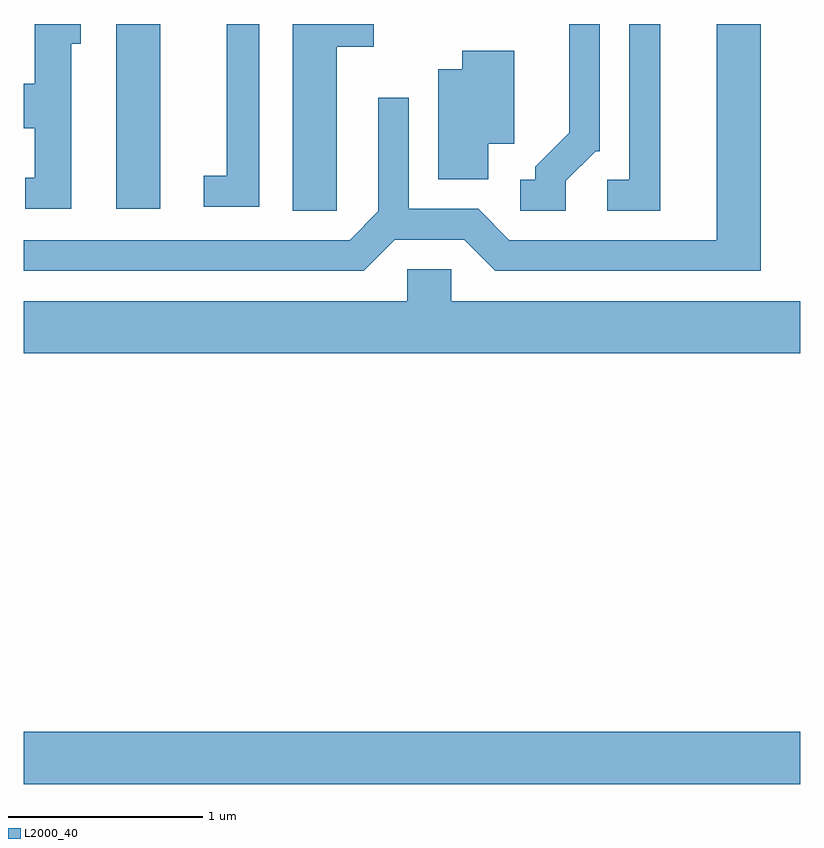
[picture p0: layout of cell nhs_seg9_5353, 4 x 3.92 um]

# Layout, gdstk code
import gdstk
lib = gdstk.Library(unit=1e-6, precision=1e-09)
def R(c, l, rs):  # rectangles x0, y0, x1, y1
    for r in rs: c.add(gdstk.rectangle(r[:2], r[2:], *l))
def P(c, l, *ps):  # polygons
    for p in ps: c.add(gdstk.Polygon(p, *l))
L2000_40 = (2000, 40)

nhs_seg9_5353 = lib.new_cell('nhs_seg9_5353')
R(nhs_seg9_5353, L2000_40, [(343.611,1958.516,347.611,1958.784), (344.086,1961.481,344.314,1962.432)])
P(nhs_seg9_5353, L2000_40, [(344.824,1962.432),(344.656,1962.432),(344.656,1961.649),(344.538,1961.649),(344.538,1961.491),(344.824,1961.491)],
  [(346.404,1961.624),(346.557,1961.776),(346.579,1961.776),(346.579,1962.432),(346.421,1962.432),(346.421,1961.872),(346.246,1961.697),(346.246,1961.629),(346.168,1961.629),(346.168,1961.471),(346.404,1961.471)],
  [(345.522,1961.321),(345.879,1961.321),(346.039,1961.161),(347.409,1961.161),(347.409,1962.432),(347.181,1962.432),(347.181,1961.319),(346.112,1961.319),(345.952,1961.479),(345.594,1961.479),(345.594,1962.053),(345.436,1962.053),(345.436,1961.467),(345.289,1961.319),(343.611,1961.319),(343.611,1961.161),(345.362,1961.161)],
  [(343.854,1962.331),(343.903,1962.331),(343.903,1962.432),(343.666,1962.432),(343.666,1962.124),(343.611,1962.124),(343.611,1961.896),(343.666,1961.896),(343.666,1961.639),(343.618,1961.639),(343.618,1961.481),(343.854,1961.481)],
  [(345.224,1962.316),(345.413,1962.316),(345.413,1962.432),(344.996,1962.432),(344.996,1961.471),(345.224,1961.471)],
  [(346.889,1962.432),(346.731,1962.432),(346.731,1961.629),(346.618,1961.629),(346.618,1961.471),(346.889,1961.471)],
  [(346.004,1961.816),(346.139,1961.816),(346.139,1962.294),(345.871,1962.294),(345.871,1962.199),(345.746,1962.199),(345.746,1961.631),(346.004,1961.631)],
  [(347.611,1961.004),(345.814,1961.004),(345.814,1961.169),(345.586,1961.169),(345.586,1961.004),(343.611,1961.004),(343.611,1960.736),(347.611,1960.736)])

lib.write_gds('nhs_seg9_5353.gds')
